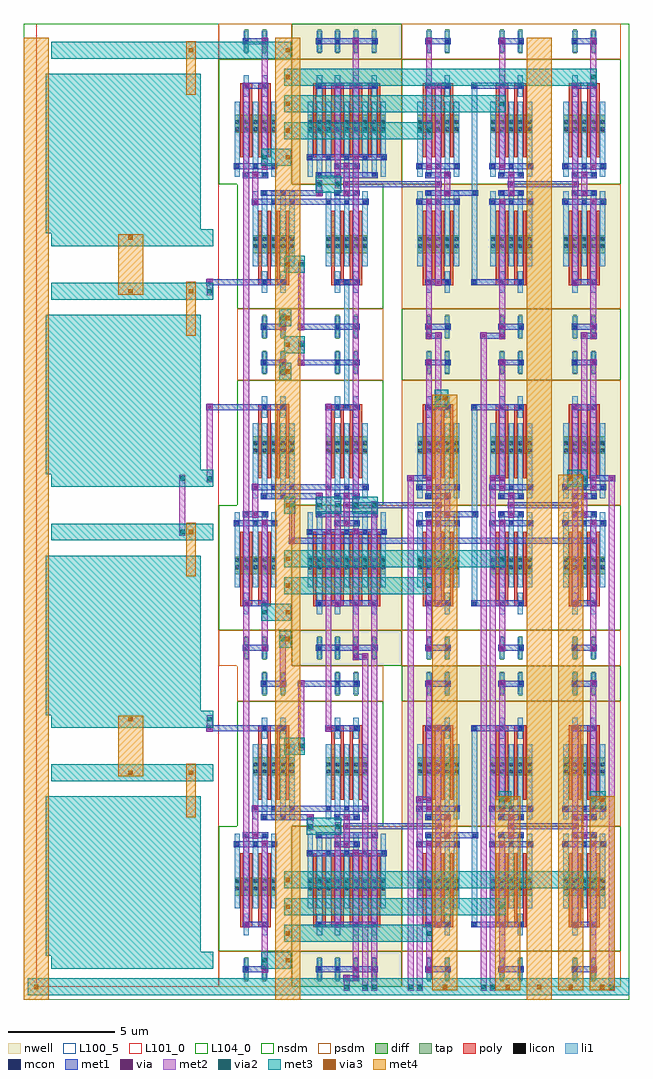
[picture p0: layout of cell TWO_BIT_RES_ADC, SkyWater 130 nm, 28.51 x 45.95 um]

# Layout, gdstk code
import gdstk
lib = gdstk.Library(unit=1e-6, precision=1e-09)
def R(c, l, rs):  # rectangles x0, y0, x1, y1
    for r in rs: c.add(gdstk.rectangle(r[:2], r[2:], *l))
def A(c, l, x, y, w, h, nx, ny, dx, dy):  # array of equal rectangles
    R(c, l, [(x+i*dx, y+j*dy, x+i*dx+w, y+j*dy+h) for i in range(nx) for j in range(ny)])
nwell = (64, 20)
diff = (65, 20)
tap = (65, 44)
poly = (66, 20)
licon = (66, 44)
li1 = (67, 20)
mcon = (67, 44)
met1 = (68, 20)
via = (68, 44)
met2 = (69, 20)
via2 = (69, 44)
met3 = (70, 20)
via3 = (70, 44)
met4 = (71, 20)
nsdm = (93, 44)
psdm = (94, 20)
L100_5 = (100, 5)
L101_0 = (101, 0)
L104_0 = (104, 0)

two_bit_res_adc = lib.new_cell('TWO_BIT_RES_ADC')
A(two_bit_res_adc, nwell, 17.2, 7.56, 3.44, 7.56, 3, 2, 3.44, 15.12)
A(two_bit_res_adc, nwell, 17.2, 30.24, 3.44, 7.56, 3, 1, 3.44, 0)
R(two_bit_res_adc, nwell, [(12.04,0,17.2,7.56), (12.04,15.12,17.2,22.68), (12.04,37.8,17.2,45.36)])
A(two_bit_res_adc, diff, 17.935, 4.305, 1.97, 0.84, 3, 2, 3.44, 5.67)
A(two_bit_res_adc, diff, 17.935, 19.425, 1.97, 0.84, 3, 2, 3.44, 5.67)
A(two_bit_res_adc, diff, 17.935, 34.545, 1.97, 0.84, 3, 2, 3.44, 5.67)
R(two_bit_res_adc, diff, [(9.335,4.305,11.305,5.145), (12.775,4.305,16.465,5.145), (10.195,9.975,12.165,10.815), (13.635,9.975,15.605,10.815), (9.335,19.425,11.305,20.265), (12.775,19.425,16.465,20.265), (10.195,25.095,12.165,25.935), (13.635,25.095,15.605,25.935), (10.195,34.545,12.165,35.385), (13.635,34.545,15.605,35.385), (9.335,40.215,11.305,41.055), (12.775,40.215,16.465,41.055)])
A(two_bit_res_adc, tap, 13.245, 0.28, 0.17, 1.12, 4, 2, 0.86, 15.12)
A(two_bit_res_adc, tap, 13.245, 43.96, 0.17, 1.12, 4, 1, 0.86, 0)
R(two_bit_res_adc, tap, [(9.805,0.28,9.975,1.4), (10.665,0.28,10.835,1.4), (18.405,0.28,18.575,1.4), (19.265,0.28,19.435,1.4), (21.845,0.28,22.015,1.4), (22.705,0.28,22.875,1.4), (25.285,0.28,25.455,1.4), (26.145,0.28,26.315,1.4), (10.665,13.72,10.835,14.84), (11.525,13.72,11.695,14.84), (14.105,13.72,14.275,14.84), (14.965,13.72,15.135,14.84), (18.405,13.72,18.575,14.84), (19.265,13.72,19.435,14.84), (21.845,13.72,22.015,14.84), (22.705,13.72,22.875,14.84), (25.285,13.72,25.455,14.84), (26.145,13.72,26.315,14.84), (9.805,15.4,9.975,16.52), (10.665,15.4,10.835,16.52), (18.405,15.4,18.575,16.52), (19.265,15.4,19.435,16.52), (21.845,15.4,22.015,16.52), (22.705,15.4,22.875,16.52), (25.285,15.4,25.455,16.52), (26.145,15.4,26.315,16.52), (10.665,28.84,10.835,29.96), (11.525,28.84,11.695,29.96), (14.105,28.84,14.275,29.96), (14.965,28.84,15.135,29.96), (18.405,28.84,18.575,29.96), (19.265,28.84,19.435,29.96), (21.845,28.84,22.015,29.96), (22.705,28.84,22.875,29.96), (25.285,28.84,25.455,29.96), (26.145,28.84,26.315,29.96), (10.665,30.52,10.835,31.64), (11.525,30.52,11.695,31.64), (14.105,30.52,14.275,31.64), (14.965,30.52,15.135,31.64), (18.405,30.52,18.575,31.64), (19.265,30.52,19.435,31.64), (21.845,30.52,22.015,31.64), (22.705,30.52,22.875,31.64), (25.285,30.52,25.455,31.64), (26.145,30.52,26.315,31.64), (9.805,43.96,9.975,45.08), (10.665,43.96,10.835,45.08), (18.405,43.96,18.575,45.08), (19.265,43.96,19.435,45.08), (21.845,43.96,22.015,45.08), (22.705,43.96,22.875,45.08), (25.285,43.96,25.455,45.08), (26.145,43.96,26.315,45.08)])
A(two_bit_res_adc, poly, 13.04, 2.805, 0.58, 0.27, 4, 2, 0.86, 15.12)
A(two_bit_res_adc, poly, 9.6, 2.94, 0.15, 3.36, 4, 2, 0.43, 15.12)
A(two_bit_res_adc, poly, 13.04, 2.94, 0.15, 3.36, 8, 2, 0.43, 15.12)
A(two_bit_res_adc, poly, 18.2, 2.94, 0.15, 3.36, 4, 2, 0.43, 5.88)
A(two_bit_res_adc, poly, 21.64, 2.94, 0.15, 3.36, 4, 2, 0.43, 5.88)
A(two_bit_res_adc, poly, 25.08, 2.94, 0.15, 3.36, 4, 2, 0.43, 5.88)
A(two_bit_res_adc, poly, 10.46, 8.82, 0.15, 3.36, 4, 2, 0.43, 15.12)
A(two_bit_res_adc, poly, 13.9, 8.82, 0.15, 3.36, 4, 2, 0.43, 15.12)
A(two_bit_res_adc, poly, 18.2, 18.06, 0.15, 3.36, 4, 2, 0.43, 5.88)
A(two_bit_res_adc, poly, 21.64, 18.06, 0.15, 3.36, 4, 2, 0.43, 5.88)
A(two_bit_res_adc, poly, 25.08, 18.06, 0.15, 3.36, 4, 2, 0.43, 5.88)
A(two_bit_res_adc, poly, 10.46, 33.18, 0.15, 3.36, 4, 1, 0.43, 0)
A(two_bit_res_adc, poly, 13.9, 33.18, 0.15, 3.36, 4, 1, 0.43, 0)
A(two_bit_res_adc, poly, 18.2, 33.18, 0.15, 3.36, 4, 2, 0.43, 5.88)
A(two_bit_res_adc, poly, 21.64, 33.18, 0.15, 3.36, 4, 2, 0.43, 5.88)
A(two_bit_res_adc, poly, 25.08, 33.18, 0.15, 3.36, 4, 2, 0.43, 5.88)
A(two_bit_res_adc, poly, 9.6, 39.06, 0.15, 3.36, 4, 1, 0.43, 0)
A(two_bit_res_adc, poly, 13.04, 39.06, 0.15, 3.36, 8, 1, 0.43, 0)
A(two_bit_res_adc, poly, 13.04, 42.285, 0.58, 0.27, 4, 1, 0.86, 0)
R(two_bit_res_adc, poly, [(9.6,2.805,10.18,3.075), (10.46,2.805,11.04,3.075), (18.2,2.805,18.78,3.075), (19.06,2.805,19.64,3.075), (21.64,2.805,22.22,3.075), (22.5,2.805,23.08,3.075), (25.08,2.805,25.66,3.075), (25.94,2.805,26.52,3.075), (10.46,12.045,11.04,12.315), (11.32,12.045,11.9,12.315), (13.9,12.045,14.48,12.315), (14.76,12.045,15.34,12.315), (18.2,12.045,18.78,12.315), (19.06,12.045,19.64,12.315), (21.64,12.045,22.22,12.315), (22.5,12.045,23.08,12.315), (25.08,12.045,25.66,12.315), (25.94,12.045,26.52,12.315), (9.6,17.925,10.18,18.195), (10.46,17.925,11.04,18.195), (18.2,17.925,18.78,18.195), (19.06,17.925,19.64,18.195), (21.64,17.925,22.22,18.195), (22.5,17.925,23.08,18.195), (25.08,17.925,25.66,18.195), (25.94,17.925,26.52,18.195), (10.46,27.165,11.04,27.435), (11.32,27.165,11.9,27.435), (13.9,27.165,14.48,27.435), (14.76,27.165,15.34,27.435), (18.2,27.165,18.78,27.435), (19.06,27.165,19.64,27.435), (21.64,27.165,22.22,27.435), (22.5,27.165,23.08,27.435), (25.08,27.165,25.66,27.435), (25.94,27.165,26.52,27.435), (10.46,33.045,11.04,33.315), (11.32,33.045,11.9,33.315), (13.9,33.045,14.48,33.315), (14.76,33.045,15.34,33.315), (18.2,33.045,18.78,33.315), (19.06,33.045,19.64,33.315), (21.64,33.045,22.22,33.315), (22.5,33.045,23.08,33.315), (25.08,33.045,25.66,33.315), (25.94,33.045,26.52,33.315), (9.6,42.285,10.18,42.555), (10.46,42.285,11.04,42.555), (18.2,42.285,18.78,42.555), (19.06,42.285,19.64,42.555), (21.64,42.285,22.22,42.555), (22.5,42.285,23.08,42.555), (25.08,42.285,25.66,42.555), (25.94,42.285,26.52,42.555)])
A(two_bit_res_adc, licon, 13.245, 0.755, 0.17, 0.17, 4, 2, 0.86, 2.1)
A(two_bit_res_adc, licon, 9.375, 4.555, 0.17, 0.17, 3, 2, 0.43, 0.34)
A(two_bit_res_adc, licon, 10.235, 4.555, 0.17, 0.17, 3, 2, 0.43, 0.34)
A(two_bit_res_adc, licon, 12.815, 4.555, 0.17, 0.17, 3, 2, 0.43, 0.34)
A(two_bit_res_adc, licon, 13.675, 4.555, 0.17, 0.17, 3, 2, 0.43, 0.34)
A(two_bit_res_adc, licon, 14.535, 4.555, 0.17, 0.17, 3, 2, 0.43, 0.34)
A(two_bit_res_adc, licon, 15.395, 4.555, 0.17, 0.17, 3, 2, 0.43, 0.34)
A(two_bit_res_adc, licon, 17.975, 4.555, 0.17, 0.17, 3, 2, 0.43, 0.34)
A(two_bit_res_adc, licon, 18.835, 4.555, 0.17, 0.17, 3, 2, 0.43, 0.34)
A(two_bit_res_adc, licon, 21.415, 4.555, 0.17, 0.17, 3, 2, 0.43, 0.34)
A(two_bit_res_adc, licon, 22.275, 4.555, 0.17, 0.17, 3, 2, 0.43, 0.34)
A(two_bit_res_adc, licon, 24.855, 4.555, 0.17, 0.17, 3, 2, 0.43, 0.34)
A(two_bit_res_adc, licon, 25.715, 4.555, 0.17, 0.17, 3, 2, 0.43, 0.34)
A(two_bit_res_adc, licon, 10.235, 10.055, 0.17, 0.17, 3, 2, 0.43, 0.34)
A(two_bit_res_adc, licon, 11.095, 10.055, 0.17, 0.17, 3, 2, 0.43, 0.34)
A(two_bit_res_adc, licon, 13.675, 10.055, 0.17, 0.17, 3, 2, 0.43, 0.34)
A(two_bit_res_adc, licon, 14.535, 10.055, 0.17, 0.17, 3, 2, 0.43, 0.34)
A(two_bit_res_adc, licon, 17.975, 10.055, 0.17, 0.17, 3, 2, 0.43, 0.34)
A(two_bit_res_adc, licon, 18.835, 10.055, 0.17, 0.17, 3, 2, 0.43, 0.34)
A(two_bit_res_adc, licon, 21.415, 10.055, 0.17, 0.17, 3, 2, 0.43, 0.34)
A(two_bit_res_adc, licon, 22.275, 10.055, 0.17, 0.17, 3, 2, 0.43, 0.34)
A(two_bit_res_adc, licon, 24.855, 10.055, 0.17, 0.17, 3, 2, 0.43, 0.34)
A(two_bit_res_adc, licon, 25.715, 10.055, 0.17, 0.17, 3, 2, 0.43, 0.34)
A(two_bit_res_adc, licon, 13.245, 15.875, 0.17, 0.17, 4, 2, 0.86, 2.1)
A(two_bit_res_adc, licon, 9.375, 19.675, 0.17, 0.17, 3, 2, 0.43, 0.34)
A(two_bit_res_adc, licon, 10.235, 19.675, 0.17, 0.17, 3, 2, 0.43, 0.34)
A(two_bit_res_adc, licon, 12.815, 19.675, 0.17, 0.17, 3, 2, 0.43, 0.34)
A(two_bit_res_adc, licon, 13.675, 19.675, 0.17, 0.17, 3, 2, 0.43, 0.34)
A(two_bit_res_adc, licon, 14.535, 19.675, 0.17, 0.17, 3, 2, 0.43, 0.34)
A(two_bit_res_adc, licon, 15.395, 19.675, 0.17, 0.17, 3, 2, 0.43, 0.34)
A(two_bit_res_adc, licon, 17.975, 19.675, 0.17, 0.17, 3, 2, 0.43, 0.34)
A(two_bit_res_adc, licon, 18.835, 19.675, 0.17, 0.17, 3, 2, 0.43, 0.34)
A(two_bit_res_adc, licon, 21.415, 19.675, 0.17, 0.17, 3, 2, 0.43, 0.34)
A(two_bit_res_adc, licon, 22.275, 19.675, 0.17, 0.17, 3, 2, 0.43, 0.34)
A(two_bit_res_adc, licon, 24.855, 19.675, 0.17, 0.17, 3, 2, 0.43, 0.34)
A(two_bit_res_adc, licon, 25.715, 19.675, 0.17, 0.17, 3, 2, 0.43, 0.34)
A(two_bit_res_adc, licon, 10.235, 25.175, 0.17, 0.17, 3, 2, 0.43, 0.34)
A(two_bit_res_adc, licon, 11.095, 25.175, 0.17, 0.17, 3, 2, 0.43, 0.34)
A(two_bit_res_adc, licon, 13.675, 25.175, 0.17, 0.17, 3, 2, 0.43, 0.34)
A(two_bit_res_adc, licon, 14.535, 25.175, 0.17, 0.17, 3, 2, 0.43, 0.34)
A(two_bit_res_adc, licon, 17.975, 25.175, 0.17, 0.17, 3, 2, 0.43, 0.34)
A(two_bit_res_adc, licon, 18.835, 25.175, 0.17, 0.17, 3, 2, 0.43, 0.34)
A(two_bit_res_adc, licon, 21.415, 25.175, 0.17, 0.17, 3, 2, 0.43, 0.34)
A(two_bit_res_adc, licon, 22.275, 25.175, 0.17, 0.17, 3, 2, 0.43, 0.34)
A(two_bit_res_adc, licon, 24.855, 25.175, 0.17, 0.17, 3, 2, 0.43, 0.34)
A(two_bit_res_adc, licon, 25.715, 25.175, 0.17, 0.17, 3, 2, 0.43, 0.34)
A(two_bit_res_adc, licon, 10.235, 34.795, 0.17, 0.17, 3, 2, 0.43, 0.34)
A(two_bit_res_adc, licon, 11.095, 34.795, 0.17, 0.17, 3, 2, 0.43, 0.34)
A(two_bit_res_adc, licon, 13.675, 34.795, 0.17, 0.17, 3, 2, 0.43, 0.34)
A(two_bit_res_adc, licon, 14.535, 34.795, 0.17, 0.17, 3, 2, 0.43, 0.34)
A(two_bit_res_adc, licon, 17.975, 34.795, 0.17, 0.17, 3, 2, 0.43, 0.34)
A(two_bit_res_adc, licon, 18.835, 34.795, 0.17, 0.17, 3, 2, 0.43, 0.34)
A(two_bit_res_adc, licon, 21.415, 34.795, 0.17, 0.17, 3, 2, 0.43, 0.34)
A(two_bit_res_adc, licon, 22.275, 34.795, 0.17, 0.17, 3, 2, 0.43, 0.34)
A(two_bit_res_adc, licon, 24.855, 34.795, 0.17, 0.17, 3, 2, 0.43, 0.34)
A(two_bit_res_adc, licon, 25.715, 34.795, 0.17, 0.17, 3, 2, 0.43, 0.34)
A(two_bit_res_adc, licon, 9.375, 40.295, 0.17, 0.17, 3, 2, 0.43, 0.34)
A(two_bit_res_adc, licon, 10.235, 40.295, 0.17, 0.17, 3, 2, 0.43, 0.34)
A(two_bit_res_adc, licon, 12.815, 40.295, 0.17, 0.17, 3, 2, 0.43, 0.34)
A(two_bit_res_adc, licon, 13.675, 40.295, 0.17, 0.17, 3, 2, 0.43, 0.34)
A(two_bit_res_adc, licon, 14.535, 40.295, 0.17, 0.17, 3, 2, 0.43, 0.34)
A(two_bit_res_adc, licon, 15.395, 40.295, 0.17, 0.17, 3, 2, 0.43, 0.34)
A(two_bit_res_adc, licon, 17.975, 40.295, 0.17, 0.17, 3, 2, 0.43, 0.34)
A(two_bit_res_adc, licon, 18.835, 40.295, 0.17, 0.17, 3, 2, 0.43, 0.34)
A(two_bit_res_adc, licon, 21.415, 40.295, 0.17, 0.17, 3, 2, 0.43, 0.34)
A(two_bit_res_adc, licon, 22.275, 40.295, 0.17, 0.17, 3, 2, 0.43, 0.34)
A(two_bit_res_adc, licon, 24.855, 40.295, 0.17, 0.17, 3, 2, 0.43, 0.34)
A(two_bit_res_adc, licon, 25.715, 40.295, 0.17, 0.17, 3, 2, 0.43, 0.34)
A(two_bit_res_adc, licon, 13.245, 42.335, 0.17, 0.17, 4, 2, 0.86, 2.1)
R(two_bit_res_adc, licon, [(9.805,0.755,9.975,0.925), (10.665,0.755,10.835,0.925), (18.405,0.755,18.575,0.925), (19.265,0.755,19.435,0.925), (21.845,0.755,22.015,0.925), (22.705,0.755,22.875,0.925), (25.285,0.755,25.455,0.925), (26.145,0.755,26.315,0.925), (9.805,2.855,9.975,3.025), (10.665,2.855,10.835,3.025), (18.405,2.855,18.575,3.025), (19.265,2.855,19.435,3.025), (21.845,2.855,22.015,3.025), (22.705,2.855,22.875,3.025), (25.285,2.855,25.455,3.025), (26.145,2.855,26.315,3.025), (10.665,12.095,10.835,12.265), (11.525,12.095,11.695,12.265), (14.105,12.095,14.275,12.265), (14.965,12.095,15.135,12.265), (18.405,12.095,18.575,12.265), (19.265,12.095,19.435,12.265), (21.845,12.095,22.015,12.265), (22.705,12.095,22.875,12.265), (25.285,12.095,25.455,12.265), (26.145,12.095,26.315,12.265), (10.665,14.195,10.835,14.365), (11.525,14.195,11.695,14.365), (14.105,14.195,14.275,14.365), (14.965,14.195,15.135,14.365), (18.405,14.195,18.575,14.365), (19.265,14.195,19.435,14.365), (21.845,14.195,22.015,14.365), (22.705,14.195,22.875,14.365), (25.285,14.195,25.455,14.365), (26.145,14.195,26.315,14.365), (9.805,15.875,9.975,16.045), (10.665,15.875,10.835,16.045), (18.405,15.875,18.575,16.045), (19.265,15.875,19.435,16.045), (21.845,15.875,22.015,16.045), (22.705,15.875,22.875,16.045), (25.285,15.875,25.455,16.045), (26.145,15.875,26.315,16.045), (9.805,17.975,9.975,18.145), (10.665,17.975,10.835,18.145), (18.405,17.975,18.575,18.145), (19.265,17.975,19.435,18.145), (21.845,17.975,22.015,18.145), (22.705,17.975,22.875,18.145), (25.285,17.975,25.455,18.145), (26.145,17.975,26.315,18.145), (10.665,27.215,10.835,27.385), (11.525,27.215,11.695,27.385), (14.105,27.215,14.275,27.385), (14.965,27.215,15.135,27.385), (18.405,27.215,18.575,27.385), (19.265,27.215,19.435,27.385), (21.845,27.215,22.015,27.385), (22.705,27.215,22.875,27.385), (25.285,27.215,25.455,27.385), (26.145,27.215,26.315,27.385), (10.665,29.315,10.835,29.485), (11.525,29.315,11.695,29.485), (14.105,29.315,14.275,29.485), (14.965,29.315,15.135,29.485), (18.405,29.315,18.575,29.485), (19.265,29.315,19.435,29.485), (21.845,29.315,22.015,29.485), (22.705,29.315,22.875,29.485), (25.285,29.315,25.455,29.485), (26.145,29.315,26.315,29.485), (10.665,30.995,10.835,31.165), (11.525,30.995,11.695,31.165), (14.105,30.995,14.275,31.165), (14.965,30.995,15.135,31.165), (18.405,30.995,18.575,31.165), (19.265,30.995,19.435,31.165), (21.845,30.995,22.015,31.165), (22.705,30.995,22.875,31.165), (25.285,30.995,25.455,31.165), (26.145,30.995,26.315,31.165), (10.665,33.095,10.835,33.265), (11.525,33.095,11.695,33.265), (14.105,33.095,14.275,33.265), (14.965,33.095,15.135,33.265), (18.405,33.095,18.575,33.265), (19.265,33.095,19.435,33.265), (21.845,33.095,22.015,33.265), (22.705,33.095,22.875,33.265), (25.285,33.095,25.455,33.265), (26.145,33.095,26.315,33.265), (9.805,42.335,9.975,42.505), (10.665,42.335,10.835,42.505), (18.405,42.335,18.575,42.505), (19.265,42.335,19.435,42.505), (21.845,42.335,22.015,42.505), (22.705,42.335,22.875,42.505), (25.285,42.335,25.455,42.505), (26.145,42.335,26.315,42.505), (9.805,44.435,9.975,44.605), (10.665,44.435,10.835,44.605), (18.405,44.435,18.575,44.605), (19.265,44.435,19.435,44.605), (21.845,44.435,22.015,44.605), (22.705,44.435,22.875,44.605), (25.285,44.435,25.455,44.605), (26.145,44.435,26.315,44.605)])
A(two_bit_res_adc, li1, 13.205, 0.335, 0.25, 1.01, 4, 2, 0.86, 2.1)
A(two_bit_res_adc, li1, 20.515, 2.855, 0.25, 9.41, 1, 3, 0, 15.12)
A(two_bit_res_adc, li1, 9.335, 3.695, 0.25, 3.53, 5, 2, 0.43, 15.12)
A(two_bit_res_adc, li1, 12.775, 3.695, 0.25, 3.53, 9, 2, 0.43, 15.12)
A(two_bit_res_adc, li1, 17.935, 3.695, 0.25, 3.53, 5, 2, 0.43, 4.2)
A(two_bit_res_adc, li1, 21.375, 3.695, 0.25, 3.53, 5, 2, 0.43, 4.2)
A(two_bit_res_adc, li1, 24.815, 3.695, 0.25, 3.53, 5, 2, 0.43, 4.2)
A(two_bit_res_adc, li1, 10.195, 7.895, 0.25, 3.53, 5, 2, 0.43, 15.12)
A(two_bit_res_adc, li1, 13.635, 7.895, 0.25, 3.53, 5, 2, 0.43, 15.12)
A(two_bit_res_adc, li1, 13.205, 15.455, 0.25, 1.01, 4, 2, 0.86, 2.1)
A(two_bit_res_adc, li1, 17.935, 18.815, 0.25, 3.53, 5, 2, 0.43, 4.2)
A(two_bit_res_adc, li1, 21.375, 18.815, 0.25, 3.53, 5, 2, 0.43, 4.2)
A(two_bit_res_adc, li1, 24.815, 18.815, 0.25, 3.53, 5, 2, 0.43, 4.2)
A(two_bit_res_adc, li1, 10.195, 33.935, 0.25, 3.53, 5, 1, 0.43, 0)
A(two_bit_res_adc, li1, 13.635, 33.935, 0.25, 3.53, 5, 1, 0.43, 0)
A(two_bit_res_adc, li1, 17.935, 33.935, 0.25, 3.53, 5, 2, 0.43, 4.2)
A(two_bit_res_adc, li1, 21.375, 33.935, 0.25, 3.53, 5, 2, 0.43, 4.2)
A(two_bit_res_adc, li1, 24.815, 33.935, 0.25, 3.53, 5, 2, 0.43, 4.2)
A(two_bit_res_adc, li1, 9.335, 38.135, 0.25, 3.53, 5, 1, 0.43, 0)
A(two_bit_res_adc, li1, 12.775, 38.135, 0.25, 3.53, 9, 1, 0.43, 0)
A(two_bit_res_adc, li1, 13.205, 41.915, 0.25, 1.01, 4, 2, 0.86, 2.1)
R(two_bit_res_adc, li1, [(9.765,0.335,10.015,1.345), (10.625,0.335,10.875,1.345), (18.365,0.335,18.615,1.345), (19.225,0.335,19.475,1.345), (21.805,0.335,22.055,1.345), (22.665,0.335,22.915,1.345), (25.245,0.335,25.495,1.345), (26.105,0.335,26.355,1.345), (9.765,2.435,10.015,3.445), (10.625,2.435,10.875,3.445), (18.365,2.435,18.615,3.445), (19.225,2.435,19.475,3.445), (21.805,2.435,22.055,3.445), (22.665,2.435,22.915,3.445), (25.245,2.435,25.495,3.445), (26.105,2.435,26.355,3.445), (10.625,11.675,10.875,12.685), (11.485,11.675,11.735,12.685), (14.065,11.675,14.315,12.685), (14.925,11.675,15.175,12.685), (18.365,11.675,18.615,12.685), (19.225,11.675,19.475,12.685), (21.805,11.675,22.055,12.685), (22.665,11.675,22.915,12.685), (25.245,11.675,25.495,12.685), (26.105,11.675,26.355,12.685), (10.625,13.775,10.875,14.785), (11.485,13.775,11.735,14.785), (14.065,13.775,14.315,14.785), (14.925,13.775,15.175,14.785), (18.365,13.775,18.615,14.785), (19.225,13.775,19.475,14.785), (21.805,13.775,22.055,14.785), (22.665,13.775,22.915,14.785), (25.245,13.775,25.495,14.785), (26.105,13.775,26.355,14.785), (9.765,15.455,10.015,16.465), (10.625,15.455,10.875,16.465), (18.365,15.455,18.615,16.465), (19.225,15.455,19.475,16.465), (21.805,15.455,22.055,16.465), (22.665,15.455,22.915,16.465), (25.245,15.455,25.495,16.465), (26.105,15.455,26.355,16.465), (9.765,17.555,10.015,18.565), (10.625,17.555,10.875,18.565), (18.365,17.555,18.615,18.565), (19.225,17.555,19.475,18.565), (21.805,17.555,22.055,18.565), (22.665,17.555,22.915,18.565), (25.245,17.555,25.495,18.565), (26.105,17.555,26.355,18.565), (10.625,26.795,10.875,27.805), (11.485,26.795,11.735,27.805), (14.065,26.795,14.315,27.805), (14.925,26.795,15.175,27.805), (18.365,26.795,18.615,27.805), (19.225,26.795,19.475,27.805), (21.805,26.795,22.055,27.805), (22.665,26.795,22.915,27.805), (25.245,26.795,25.495,27.805), (26.105,26.795,26.355,27.805), (14.495,27.215,14.745,33.265), (10.625,28.895,10.875,29.905), (11.485,28.895,11.735,29.905), (14.065,28.895,14.315,29.905), (14.925,28.895,15.175,29.905), (18.365,28.895,18.615,29.905), (19.225,28.895,19.475,29.905), (21.805,28.895,22.055,29.905), (22.665,28.895,22.915,29.905), (25.245,28.895,25.495,29.905), (26.105,28.895,26.355,29.905), (10.625,30.575,10.875,31.585), (11.485,30.575,11.735,31.585), (14.065,30.575,14.315,31.585), (14.925,30.575,15.175,31.585), (18.365,30.575,18.615,31.585), (19.225,30.575,19.475,31.585), (21.805,30.575,22.055,31.585), (22.665,30.575,22.915,31.585), (25.245,30.575,25.495,31.585), (26.105,30.575,26.355,31.585), (10.625,32.675,10.875,33.685), (11.485,32.675,11.735,33.685), (14.065,32.675,14.315,33.685), (14.925,32.675,15.175,33.685), (18.365,32.675,18.615,33.685), (19.225,32.675,19.475,33.685), (21.805,32.675,22.055,33.685), (22.665,32.675,22.915,33.685), (25.245,32.675,25.495,33.685), (26.105,32.675,26.355,33.685), (9.765,41.915,10.015,42.925), (10.625,41.915,10.875,42.925), (18.365,41.915,18.615,42.925), (19.225,41.915,19.475,42.925), (21.805,41.915,22.055,42.925), (22.665,41.915,22.915,42.925), (25.245,41.915,25.495,42.925), (26.105,41.915,26.355,42.925), (9.765,44.015,10.015,45.025), (10.625,44.015,10.875,45.025), (18.365,44.015,18.615,45.025), (19.225,44.015,19.475,45.025), (21.805,44.015,22.055,45.025), (22.665,44.015,22.915,45.025), (25.245,44.015,25.495,45.025), (26.105,44.015,26.355,45.025)])
A(two_bit_res_adc, mcon, 13.245, 0.755, 0.17, 0.17, 4, 2, 0.86, 2.1)
A(two_bit_res_adc, mcon, 19.265, 2.855, 0.17, 0.17, 3, 2, 1.29, 4.2)
A(two_bit_res_adc, mcon, 12.815, 6.215, 0.17, 0.17, 5, 2, 0.86, 15.12)
A(two_bit_res_adc, mcon, 9.375, 6.635, 0.17, 0.17, 3, 2, 0.86, 15.12)
A(two_bit_res_adc, mcon, 17.975, 6.635, 0.17, 0.17, 3, 2, 0.86, 1.68)
A(two_bit_res_adc, mcon, 21.415, 6.635, 0.17, 0.17, 3, 2, 0.86, 1.68)
A(two_bit_res_adc, mcon, 24.855, 6.635, 0.17, 0.17, 3, 2, 0.86, 1.68)
A(two_bit_res_adc, mcon, 10.665, 7.055, 0.17, 0.17, 4, 2, 2.58, 15.12)
A(two_bit_res_adc, mcon, 10.235, 8.315, 0.17, 0.17, 3, 2, 0.86, 15.12)
A(two_bit_res_adc, mcon, 13.675, 8.315, 0.17, 0.17, 3, 2, 0.86, 15.12)
A(two_bit_res_adc, mcon, 19.265, 12.095, 0.17, 0.17, 3, 2, 1.29, 5.88)
A(two_bit_res_adc, mcon, 13.245, 15.875, 0.17, 0.17, 4, 2, 0.86, 2.1)
A(two_bit_res_adc, mcon, 17.975, 21.755, 0.17, 0.17, 3, 2, 0.86, 1.68)
A(two_bit_res_adc, mcon, 21.415, 21.755, 0.17, 0.17, 3, 2, 0.86, 1.68)
A(two_bit_res_adc, mcon, 24.855, 21.755, 0.17, 0.17, 3, 2, 0.86, 1.68)
A(two_bit_res_adc, mcon, 19.265, 22.175, 0.17, 0.17, 3, 2, 1.29, 5.04)
A(two_bit_res_adc, mcon, 14.105, 27.215, 0.17, 0.17, 3, 2, 0.43, 5.88)
A(two_bit_res_adc, mcon, 19.265, 33.095, 0.17, 0.17, 3, 2, 1.29, 4.2)
A(two_bit_res_adc, mcon, 10.235, 36.875, 0.17, 0.17, 3, 1, 0.86, 0)
A(two_bit_res_adc, mcon, 13.675, 36.875, 0.17, 0.17, 3, 1, 0.86, 0)
A(two_bit_res_adc, mcon, 17.975, 36.875, 0.17, 0.17, 3, 2, 0.86, 1.68)
A(two_bit_res_adc, mcon, 21.415, 36.875, 0.17, 0.17, 3, 2, 0.86, 1.68)
A(two_bit_res_adc, mcon, 24.855, 36.875, 0.17, 0.17, 3, 2, 0.86, 1.68)
A(two_bit_res_adc, mcon, 10.665, 38.135, 0.17, 0.17, 4, 1, 2.58, 0)
A(two_bit_res_adc, mcon, 9.375, 38.555, 0.17, 0.17, 3, 1, 0.86, 0)
A(two_bit_res_adc, mcon, 12.815, 38.975, 0.17, 0.17, 5, 1, 0.86, 0)
A(two_bit_res_adc, mcon, 13.245, 42.335, 0.17, 0.17, 4, 2, 0.86, 2.1)
A(two_bit_res_adc, mcon, 19.265, 42.335, 0.17, 0.17, 3, 1, 1.29, 0)
R(two_bit_res_adc, mcon, [(9.805,0.755,9.975,0.925), (10.665,0.755,10.835,0.925), (18.405,0.755,18.575,0.925), (19.265,0.755,19.435,0.925), (21.845,0.755,22.015,0.925), (22.705,0.755,22.875,0.925), (25.285,0.755,25.455,0.925), (26.145,0.755,26.315,0.925), (9.805,2.855,9.975,3.025), (10.665,2.855,10.835,3.025), (18.405,2.855,18.575,3.025), (22.705,2.855,22.875,3.025), (25.285,2.855,25.455,3.025), (26.145,2.855,26.315,3.025), (14.105,6.635,14.275,6.805), (14.965,6.635,15.135,6.805), (9.805,7.055,9.975,7.225), (22.705,7.055,22.875,7.225), (25.285,7.055,25.455,7.225), (26.145,7.055,26.315,7.225), (10.665,7.895,10.835,8.065), (11.525,7.895,11.695,8.065), (14.105,7.895,14.275,8.065), (14.965,7.895,15.135,8.065), (18.405,7.895,18.575,8.065), (19.265,7.895,19.435,8.065), (21.845,7.895,22.015,8.065), (22.705,7.895,22.875,8.065), (25.285,7.895,25.455,8.065), (26.145,7.895,26.315,8.065), (10.665,12.095,10.835,12.265), (11.525,12.095,11.695,12.265), (14.105,12.095,14.275,12.265), (14.965,12.095,15.135,12.265), (18.405,12.095,18.575,12.265), (22.705,12.095,22.875,12.265), (25.285,12.095,25.455,12.265), (26.145,12.095,26.315,12.265), (10.665,14.195,10.835,14.365), (11.525,14.195,11.695,14.365), (14.105,14.195,14.275,14.365), (14.965,14.195,15.135,14.365), (18.405,14.195,18.575,14.365), (19.265,14.195,19.435,14.365), (21.845,14.195,22.015,14.365), (22.705,14.195,22.875,14.365), (25.285,14.195,25.455,14.365), (26.145,14.195,26.315,14.365), (9.805,15.875,9.975,16.045), (10.665,15.875,10.835,16.045), (18.405,15.875,18.575,16.045), (19.265,15.875,19.435,16.045), (21.845,15.875,22.015,16.045), (22.705,15.875,22.875,16.045), (25.285,15.875,25.455,16.045), (26.145,15.875,26.315,16.045), (9.805,17.975,9.975,18.145), (10.665,17.975,10.835,18.145), (18.405,17.975,18.575,18.145), (22.705,17.975,22.875,18.145), (25.285,17.975,25.455,18.145), (26.145,17.975,26.315,18.145), (14.105,21.755,14.275,21.925), (14.965,21.755,15.135,21.925), (9.805,22.175,9.975,22.345), (22.705,22.175,22.875,22.345), (25.285,22.175,25.455,22.345), (26.145,22.175,26.315,22.345), (10.665,23.015,10.835,23.185), (11.525,23.015,11.695,23.185), (14.105,23.015,14.275,23.185), (14.965,23.015,15.135,23.185), (18.405,23.015,18.575,23.185), (19.265,23.015,19.435,23.185), (21.845,23.015,22.015,23.185), (22.705,23.015,22.875,23.185), (25.285,23.015,25.455,23.185), (26.145,23.015,26.315,23.185), (10.665,27.215,10.835,27.385), (11.525,27.215,11.695,27.385), (18.405,27.215,18.575,27.385), (22.705,27.215,22.875,27.385), (25.285,27.215,25.455,27.385), (26.145,27.215,26.315,27.385), (10.665,29.315,10.835,29.485), (11.525,29.315,11.695,29.485), (14.105,29.315,14.275,29.485), (14.965,29.315,15.135,29.485), (18.405,29.315,18.575,29.485), (19.265,29.315,19.435,29.485), (21.845,29.315,22.015,29.485), (22.705,29.315,22.875,29.485), (25.285,29.315,25.455,29.485), (26.145,29.315,26.315,29.485), (10.665,30.995,10.835,31.165), (11.525,30.995,11.695,31.165), (14.105,30.995,14.275,31.165), (14.965,30.995,15.135,31.165), (18.405,30.995,18.575,31.165), (19.265,30.995,19.435,31.165), (21.845,30.995,22.015,31.165), (22.705,30.995,22.875,31.165), (25.285,30.995,25.455,31.165), (26.145,30.995,26.315,31.165), (10.665,33.095,10.835,33.265), (11.525,33.095,11.695,33.265), (18.405,33.095,18.575,33.265), (22.705,33.095,22.875,33.265), (25.285,33.095,25.455,33.265), (26.145,33.095,26.315,33.265), (10.665,37.295,10.835,37.465), (11.525,37.295,11.695,37.465), (14.105,37.295,14.275,37.465), (14.965,37.295,15.135,37.465), (18.405,37.295,18.575,37.465), (22.705,37.295,22.875,37.465), (25.285,37.295,25.455,37.465), (26.145,37.295,26.315,37.465), (9.805,38.135,9.975,38.305), (19.265,38.135,19.435,38.305), (21.845,38.135,22.015,38.305), (22.705,38.135,22.875,38.305), (25.285,38.135,25.455,38.305), (26.145,38.135,26.315,38.305), (14.105,38.555,14.275,38.725), (14.965,38.555,15.135,38.725), (9.805,42.335,9.975,42.505), (10.665,42.335,10.835,42.505), (18.405,42.335,18.575,42.505), (22.705,42.335,22.875,42.505), (25.285,42.335,25.455,42.505), (26.145,42.335,26.315,42.505), (9.805,44.435,9.975,44.605), (10.665,44.435,10.835,44.605), (18.405,44.435,18.575,44.605), (19.265,44.435,19.435,44.605), (21.845,44.435,22.015,44.605), (22.705,44.435,22.875,44.605), (25.285,44.435,25.455,44.605), (26.145,44.435,26.315,44.605)])
A(two_bit_res_adc, met1, 18.32, 0.7, 1.2, 0.28, 3, 2, 3.44, 7.14)
A(two_bit_res_adc, met1, 17.89, 6.58, 2.06, 0.28, 3, 2, 3.44, 1.68)
A(two_bit_res_adc, met1, 18.32, 7, 2.49, 0.28, 1, 3, 0, 15.12)
A(two_bit_res_adc, met1, 21.76, 7, 1.2, 0.28, 1, 3, 0, 15.12)
A(two_bit_res_adc, met1, 14.46, 7.42, 4.62, 0.28, 1, 3, 0, 15.12)
A(two_bit_res_adc, met1, 22.2, 7.42, 3.33, 0.28, 1, 3, 0, 15.12)
A(two_bit_res_adc, met1, 18.32, 14.14, 1.2, 0.28, 3, 2, 3.44, 1.68)
A(two_bit_res_adc, met1, 17.89, 21.7, 2.06, 0.28, 3, 2, 3.44, 1.68)
A(two_bit_res_adc, met1, 18.32, 22.96, 1.2, 0.28, 3, 2, 3.44, 6.3)
A(two_bit_res_adc, met1, 18.32, 30.94, 1.2, 0.28, 3, 2, 3.44, 7.14)
A(two_bit_res_adc, met1, 17.89, 36.82, 2.06, 0.28, 3, 2, 3.44, 1.68)
A(two_bit_res_adc, met1, 18.32, 44.38, 1.2, 0.28, 3, 1, 3.44, 0)
R(two_bit_res_adc, met1, [(14.46,0.28,15.21,0.56), (9.72,0.7,10.92,0.98), (13.16,0.7,16.08,0.98), (9.72,2.8,10.92,3.08), (13.16,2.8,16.08,3.08), (18.32,2.8,19.52,3.08), (20.47,2.8,22.96,3.08), (25.2,2.8,26.4,3.08), (12.73,6.16,16.51,6.44), (9.29,6.58,11.35,6.86), (14.02,6.58,15.22,6.86), (9.72,7,10.92,7.28), (13.16,7,16.08,7.28), (25.2,7,26.4,7.28), (10.58,7.84,13.06,8.12), (14.02,7.84,15.22,8.12), (10.15,8.26,15.65,8.54), (17.9,8.68,18.65,8.96), (8.01,12.04,11.78,12.32), (13.6,12.04,15.22,12.32), (18.32,12.04,19.52,12.32), (20.47,12.04,22.96,12.32), (25.2,12.04,26.4,12.32), (10.58,14.14,11.78,14.42), (12.31,14.14,15.22,14.42), (14.89,15.4,15.64,15.68), (9.72,15.82,10.92,16.1), (13.16,15.82,16.08,16.1), (9.72,17.92,10.92,18.2), (13.16,17.92,16.08,18.2), (18.32,17.92,19.52,18.2), (20.47,17.92,22.96,18.2), (25.2,17.92,26.4,18.2), (11.88,20.86,26.39,21.14), (12.73,21.28,16.51,21.56), (9.29,21.7,11.35,21.98), (14.02,21.7,15.22,21.98), (9.72,22.12,10.92,22.4), (13.16,22.12,16.08,22.4), (25.2,22.12,26.4,22.4), (10.58,22.96,13.49,23.24), (14.02,22.96,15.22,23.24), (10.15,23.38,15.65,23.66), (17.47,23.8,18.65,24.08), (21.34,23.8,22.09,24.08), (26.07,23.8,27.25,24.08), (8.01,27.16,11.78,27.44), (13.6,27.16,15.22,27.44), (18.32,27.16,19.52,27.44), (20.47,27.16,22.96,27.44), (25.2,27.16,26.4,27.44), (10.58,29.26,11.78,29.54), (12.31,29.26,15.22,29.54), (18.33,30.52,19.08,30.8), (20.91,30.52,22.09,30.8), (25.64,30.52,26.39,30.8), (10.58,30.94,11.78,31.22), (12.31,30.94,15.22,31.22), (8.01,33.04,11.78,33.32), (14.02,33.04,15.22,33.32), (18.32,33.04,19.52,33.32), (20.47,33.04,22.96,33.32), (25.2,33.04,26.4,33.32), (10.15,36.82,15.65,37.1), (10.58,37.24,13.49,37.52), (14.02,37.24,15.22,37.52), (25.2,37.24,26.4,37.52), (9.72,38.08,10.92,38.36), (13.16,38.08,16.08,38.36), (9.29,38.5,11.35,38.78), (14.02,38.5,15.22,38.78), (12.73,38.92,16.51,39.2), (9.72,42.28,10.92,42.56), (13.16,42.28,16.08,42.56), (18.32,42.28,19.52,42.56), (20.47,42.28,22.96,42.56), (25.2,42.28,26.4,42.56), (9.72,44.38,10.92,44.66), (13.16,44.38,16.08,44.66)])
A(two_bit_res_adc, via, 14.975, 0.765, 0.15, 0.15, 3, 2, 3.44, 15.12)
A(two_bit_res_adc, via, 18.845, 2.865, 0.15, 0.15, 1, 3, 0, 4.62)
A(two_bit_res_adc, via, 25.295, 2.865, 0.15, 0.15, 1, 3, 0, 4.62)
A(two_bit_res_adc, via, 10.675, 6.645, 0.15, 0.15, 3, 2, 3.87, 15.12)
A(two_bit_res_adc, via, 22.285, 7.065, 0.15, 0.15, 1, 3, 0, 0.42)
A(two_bit_res_adc, via, 18.845, 17.985, 0.15, 0.15, 1, 3, 0, 4.62)
A(two_bit_res_adc, via, 25.295, 17.985, 0.15, 0.15, 1, 3, 0, 4.62)
A(two_bit_res_adc, via, 22.285, 22.185, 0.15, 0.15, 1, 3, 0, 0.42)
A(two_bit_res_adc, via, 18.845, 33.105, 0.15, 0.15, 1, 3, 0, 4.62)
A(two_bit_res_adc, via, 25.295, 33.105, 0.15, 0.15, 1, 3, 0, 4.62)
A(two_bit_res_adc, via, 22.285, 37.305, 0.15, 0.15, 1, 3, 0, 0.42)
A(two_bit_res_adc, via, 10.675, 38.565, 0.15, 0.15, 3, 1, 3.87, 0)
A(two_bit_res_adc, via, 14.975, 44.445, 0.15, 0.15, 3, 1, 3.44, 0)
R(two_bit_res_adc, via, [(14.545,0.345,14.695,0.495), (14.975,0.345,15.125,0.495), (10.675,0.765,10.825,0.915), (26.155,0.765,26.305,0.915), (9.815,2.865,9.965,3.015), (14.115,2.865,14.265,3.015), (14.975,6.225,15.125,6.375), (21.855,6.645,22.005,6.795), (26.155,6.645,26.305,6.795), (10.245,7.065,10.395,7.215), (14.115,7.065,14.265,7.215), (19.275,7.065,19.425,7.215), (25.725,7.065,25.875,7.215), (14.545,7.485,14.695,7.635), (12.825,7.905,12.975,8.055), (14.545,7.905,14.695,8.055), (19.275,7.905,19.425,8.055), (25.725,7.905,25.875,8.055), (10.245,8.325,10.395,8.475), (18.415,8.325,18.565,8.475), (21.855,8.325,22.005,8.475), (26.155,8.325,26.305,8.475), (17.985,8.745,18.135,8.895), (18.415,8.745,18.565,8.895), (8.095,12.105,8.245,12.255), (13.685,12.105,13.835,12.255), (11.535,14.205,11.685,14.355), (12.395,14.205,12.545,14.355), (18.415,14.205,18.565,14.355), (21.855,14.205,22.005,14.355), (26.155,14.205,26.305,14.355), (14.975,15.465,15.125,15.615), (15.405,15.465,15.555,15.615), (10.675,15.885,10.825,16.035), (26.155,15.885,26.305,16.035), (9.815,17.985,9.965,18.135), (14.115,17.985,14.265,18.135), (11.965,20.925,12.115,21.075), (26.155,20.925,26.305,21.075), (14.975,21.345,15.125,21.495), (21.855,21.765,22.005,21.915), (26.155,21.765,26.305,21.915), (10.245,22.185,10.395,22.335), (14.115,22.185,14.265,22.335), (19.275,22.185,19.425,22.335), (25.725,22.185,25.875,22.335), (14.545,22.605,14.695,22.755), (13.255,23.025,13.405,23.175), (14.545,23.025,14.695,23.175), (19.275,23.025,19.425,23.175), (25.725,23.025,25.875,23.175), (10.245,23.445,10.395,23.595), (18.415,23.445,18.565,23.595), (21.855,23.445,22.005,23.595), (26.155,23.445,26.305,23.595), (17.555,23.865,17.705,24.015), (18.415,23.865,18.565,24.015), (21.425,23.865,21.575,24.015), (21.855,23.865,22.005,24.015), (26.155,23.865,26.305,24.015), (27.015,23.865,27.165,24.015), (8.095,27.225,8.245,27.375), (13.685,27.225,13.835,27.375), (11.535,29.325,11.685,29.475), (12.395,29.325,12.545,29.475), (18.415,29.325,18.565,29.475), (21.855,29.325,22.005,29.475), (26.155,29.325,26.305,29.475), (18.415,30.585,18.565,30.735), (18.845,30.585,18.995,30.735), (20.995,30.585,21.145,30.735), (21.855,30.585,22.005,30.735), (25.725,30.585,25.875,30.735), (26.155,30.585,26.305,30.735), (11.535,31.005,11.685,31.155), (12.395,31.005,12.545,31.155), (18.415,31.005,18.565,31.155), (21.855,31.005,22.005,31.155), (26.155,31.005,26.305,31.155), (8.095,33.105,8.245,33.255), (10.245,36.885,10.395,37.035), (18.415,36.885,18.565,37.035), (21.855,36.885,22.005,37.035), (26.155,36.885,26.305,37.035), (13.255,37.305,13.405,37.455), (14.545,37.305,14.695,37.455), (19.275,37.305,19.425,37.455), (25.725,37.305,25.875,37.455), (14.545,37.725,14.695,37.875), (10.245,38.145,10.395,38.295), (14.115,38.145,14.265,38.295), (19.275,38.145,19.425,38.295), (25.725,38.145,25.875,38.295), (21.855,38.565,22.005,38.715), (26.155,38.565,26.305,38.715), (14.975,38.985,15.125,39.135), (9.815,42.345,9.965,42.495), (14.115,42.345,14.265,42.495), (10.675,44.445,10.825,44.595), (26.155,44.445,26.305,44.595)])
A(two_bit_res_adc, met2, 18.35, 0.68, 0.28, 6.2, 1, 4, 0, 7.56)
A(two_bit_res_adc, met2, 21.79, 0.68, 0.28, 6.2, 1, 4, 0, 7.56)
A(two_bit_res_adc, met2, 26.09, 0.68, 0.28, 6.2, 1, 4, 0, 7.56)
A(two_bit_res_adc, met2, 18.78, 2.78, 0.28, 9.56, 1, 3, 0, 15.12)
A(two_bit_res_adc, met2, 25.23, 2.78, 0.28, 9.56, 1, 3, 0, 15.12)
A(two_bit_res_adc, met2, 19.21, 6.98, 0.28, 1.16, 1, 3, 0, 15.12)
A(two_bit_res_adc, met2, 22.22, 6.98, 0.28, 1.16, 1, 3, 0, 15.12)
A(two_bit_res_adc, met2, 25.66, 6.98, 0.28, 1.16, 1, 3, 0, 15.12)
R(two_bit_res_adc, met2, [(14.48,-0.185,14.76,0.58), (15.34,-0.185,15.62,15.7), (15.77,-0.185,16.05,22.865), (17.49,-0.185,17.77,24.1), (17.92,-0.185,18.2,8.98), (20.93,-0.185,21.21,30.82), (21.36,-0.185,21.64,24.1), (26.95,-0.185,27.23,24.1), (14.91,0.26,15.19,6.46), (10.61,0.68,10.89,6.88), (9.75,2.78,10.03,42.58), (14.05,2.78,14.33,7.745), (14.48,6.56,14.76,8.14), (10.18,6.98,10.46,8.56), (12.76,7.375,13.04,8.14), (12.33,11.155,12.61,14.44), (8.03,12.02,8.31,12.785), (13.62,12.02,13.9,27.46), (11.47,14.12,11.75,16.565), (14.91,15.38,15.19,21.58), (10.61,15.8,10.89,22), (14.05,17.9,14.33,22.865), (11.9,20.84,12.18,22.865), (6.74,21.235,7.02,24.125), (14.48,21.68,14.76,23.26), (10.18,22.1,10.46,23.68), (13.19,22.495,13.47,23.26), (14.91,22.495,15.19,44.68), (8.03,23.755,8.31,27.46), (25.66,23.755,25.94,30.82), (18.78,27.535,19.06,30.82), (11.47,28.795,11.75,29.56), (12.33,29.24,12.61,30.425), (18.35,30.5,18.63,37.12), (21.79,30.5,22.07,37.12), (26.09,30.5,26.37,37.12), (11.47,30.92,11.75,31.685), (12.33,30.92,12.61,34.205), (8.03,32.575,8.31,33.34), (10.18,36.8,10.46,38.38), (13.19,37.22,13.47,37.985), (14.48,37.22,14.76,38.8), (14.05,37.615,14.33,42.58), (10.61,38.48,10.89,44.68), (18.35,38.48,18.63,44.68), (21.79,38.48,22.07,44.68), (26.09,38.48,26.37,44.68)])
A(two_bit_res_adc, via2, 13.23, 22.58, 0.2, 0.2, 4, 1, 0.86, 0)
R(two_bit_res_adc, via2, [(14.52,-0.1,14.72,0.1), (15.38,-0.1,15.58,0.1), (15.81,-0.1,16.01,0.1), (17.53,-0.1,17.73,0.1), (17.96,-0.1,18.16,0.1), (20.97,-0.1,21.17,0.1), (21.4,-0.1,21.6,0.1), (26.99,-0.1,27.19,0.1), (10.65,1.16,10.85,1.36), (18.39,2.42,18.59,2.62), (21.83,3.68,22.03,3.88), (26.13,4.94,26.33,5.14), (12.8,7.46,13,7.66), (14.09,7.46,14.29,7.66), (21.83,8.72,22.03,8.92), (26.13,8.72,26.33,8.92), (12.37,11.24,12.57,11.44), (8.07,12.5,8.27,12.7), (11.51,16.28,11.71,16.48), (10.65,17.54,10.85,17.74), (18.39,18.8,18.59,19), (21.83,20.06,22.03,20.26), (6.78,21.32,6.98,21.52), (11.94,22.58,12.14,22.78), (6.78,23.84,6.98,24.04), (8.07,23.84,8.27,24.04), (25.7,23.84,25.9,24.04), (18.82,27.62,19.02,27.82), (11.51,28.88,11.71,29.08), (12.37,30.14,12.57,30.34), (11.51,31.4,11.71,31.6), (8.07,32.66,8.27,32.86), (12.37,33.92,12.57,34.12), (13.23,37.7,13.43,37.9), (14.09,37.7,14.29,37.9), (10.65,38.96,10.85,39.16), (18.39,40.22,18.59,40.42), (21.83,41.48,22.03,41.68), (26.13,42.74,26.33,42.94)])
A(two_bit_res_adc, met3, 0.44, 1.46, 0.45, 2.52, 1, 4, 0, 11.34)
A(two_bit_res_adc, met3, 0.44, 1.67, 7.3, 7.3, 1, 4, 0, 11.34)
R(two_bit_res_adc, met3, [(-0.4,-0.4,27.92,0.4), (0.695,0.86,8.335,1.66), (10.585,0.86,12.005,1.66), (11.675,2.12,18.655,2.92), (11.675,3.38,22.095,4.18), (11.675,4.64,26.395,5.44), (12.735,7.16,14.355,7.96), (21.765,8.42,22.365,9.22), (26.065,8.42,26.805,9.22), (0.695,9.68,8.335,10.48), (11.675,10.94,12.635,11.74), (0.695,12.2,8.335,13), (11.445,15.98,12.005,16.78), (10.585,17.24,12.005,18.04), (11.675,18.5,18.655,19.3), (11.675,19.76,22.095,20.56), (0.695,21.02,8.335,21.82), (11.675,22.28,12.205,23.08), (13.165,22.28,14.355,23.08), (14.885,22.28,16.075,23.08), (0.695,23.54,8.335,24.34), (24.995,23.54,25.965,24.34), (18.755,27.32,19.405,28.12), (11.445,28.58,12.005,29.38), (11.675,29.84,12.635,30.64), (11.445,31.1,12.005,31.9), (0.695,32.36,8.335,33.16), (11.675,33.62,12.635,34.42), (0.695,34.88,8.335,35.68), (13.165,37.4,14.355,38.2), (10.585,38.66,12.005,39.46), (11.675,39.92,18.655,40.72), (11.675,41.18,22.095,41.98), (11.675,42.44,26.395,43.24), (0.695,43.7,12.005,44.5)])
A(two_bit_res_adc, via3, 22.1, -0.1, 0.2, 0.2, 4, 1, 1.48, 0)
A(two_bit_res_adc, via3, 11.74, 1.16, 0.2, 0.2, 1, 4, 0, 1.26)
A(two_bit_res_adc, via3, 7.19, 9.98, 0.2, 0.2, 1, 4, 0, 11.34)
A(two_bit_res_adc, via3, 11.74, 16.28, 0.2, 0.2, 1, 4, 0, 1.26)
A(two_bit_res_adc, via3, 11.74, 28.88, 0.2, 0.2, 1, 3, 0, 1.26)
A(two_bit_res_adc, via3, 11.74, 38.96, 0.2, 0.2, 1, 5, 0, 1.26)
R(two_bit_res_adc, via3, [(-0.1,-0.1,0.1,0.1), (19.14,-0.1,19.34,0.1), (22.1,8.72,22.3,8.92), (26.54,8.72,26.74,8.92), (4.34,9.98,4.54,10.18), (11.74,11.24,11.94,11.44), (4.34,12.5,4.54,12.7), (11.74,22.58,11.94,22.78), (25.06,23.84,25.26,24.04), (19.14,27.62,19.34,27.82), (4.34,32.66,4.54,32.86), (11.74,33.92,11.94,34.12), (4.34,35.18,4.54,35.38)])
A(two_bit_res_adc, met4, -0.59, -0.59, 1.18, 45.28, 3, 1, 11.84, 0)
A(two_bit_res_adc, met4, 7.065, 7.99, 0.45, 2.52, 1, 4, 0, 11.34)
R(two_bit_res_adc, met4, [(18.65,-0.165,19.83,27.885), (21.61,-0.165,22.79,8.985), (24.57,-0.165,25.75,24.105), (26.05,-0.165,27.23,8.985), (3.85,9.915,5.03,12.765), (3.85,32.595,5.03,35.445)])
A(two_bit_res_adc, nsdm, 17.2, 1.68, 3.44, 5.88, 3, 2, 3.44, 15.12)
A(two_bit_res_adc, nsdm, 17.2, 13.44, 3.44, 1.68, 3, 2, 3.44, 15.12)
A(two_bit_res_adc, nsdm, 17.2, 30.24, 3.44, 1.68, 3, 1, 3.44, 0)
A(two_bit_res_adc, nsdm, 17.2, 37.8, 3.44, 5.88, 3, 1, 3.44, 0)
R(two_bit_res_adc, nsdm, [(12.04,0,17.2,1.68), (8.6,1.68,12.04,7.56), (9.46,7.56,12.9,13.44), (12.9,7.56,16.34,13.44), (12.04,15.12,17.2,16.8), (8.6,16.8,12.04,22.68), (9.46,22.68,12.9,28.56), (12.9,22.68,16.34,28.56), (9.46,31.92,12.9,37.8), (12.9,31.92,16.34,37.8), (8.6,37.8,12.04,43.68), (12.04,43.68,17.2,45.36)])
A(two_bit_res_adc, psdm, 17.2, 0, 3.44, 1.68, 3, 2, 3.44, 15.12)
A(two_bit_res_adc, psdm, 17.2, 7.56, 3.44, 5.88, 3, 2, 3.44, 15.12)
A(two_bit_res_adc, psdm, 17.2, 31.92, 3.44, 5.88, 3, 1, 3.44, 0)
A(two_bit_res_adc, psdm, 17.2, 43.68, 3.44, 1.68, 3, 1, 3.44, 0)
R(two_bit_res_adc, psdm, [(8.6,0,12.04,1.68), (12.04,1.68,17.2,7.56), (9.46,13.44,12.9,15.12), (12.9,13.44,16.34,15.12), (8.6,15.12,12.04,16.8), (12.04,16.8,17.2,22.68), (9.46,28.56,12.9,30.24), (12.9,28.56,16.34,30.24), (9.46,30.24,12.9,31.92), (12.9,30.24,16.34,31.92), (12.04,37.8,17.2,43.68), (8.6,43.68,12.04,45.36)])
R(two_bit_res_adc, L100_5, [(-0.59,-0.59,27.92,45.36)])
A(two_bit_res_adc, L101_0, 0, 0, 8.6, 11.34, 1, 4, 0, 11.34)
R(two_bit_res_adc, L104_0, [(-0.59,-0.59,27.92,45.36)])

lib.write_gds('TWO_BIT_RES_ADC.gds')
